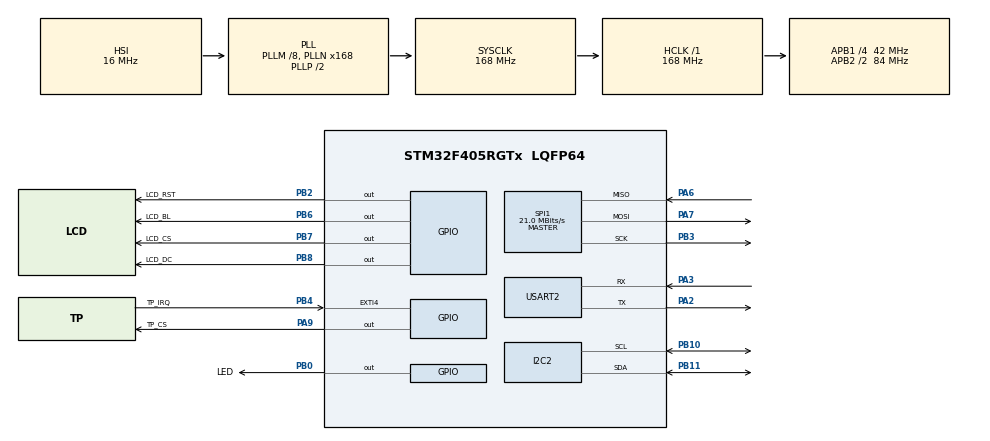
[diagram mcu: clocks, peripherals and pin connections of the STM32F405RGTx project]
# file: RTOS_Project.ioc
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ADC1.Channel-0\#ChannelRegularConversion=ADC_CHANNEL_TEMPSENSOR
ADC1.NbrOfConversion=1
ADC1.NbrOfConversionFlag=1
ADC1.Rank-0\#ChannelRegularConversion=1
ADC1.SamplingTime-0\#ChannelRegularConversion=ADC_SAMPLETIME_480CYCLES
ADC1.master=1
FREERTOS.BinarySemaphores01=touchSem,Dynamic,NULL,Available
FREERTOS.Mutexes01=spiMutex,Dynamic,NULL,Available
FREERTOS.Queues01=tempQueue,4,TempMsg_t,0,Dynamic,NULL,NULL
FREERTOS.Tasks01=defaultTask,24,128,StartDefaultTask,Default,NULL,Dynamic,NULL,NULL;touchTask,32,512,StartTask02,Default,NULL,Dynamic,NULL,NULL;TempTask,24,256,StartTask03,Default,NULL,Dynamic,NULL,NULL
I2C2.I2C_Mode=I2C_Fast
Mcu.Family=STM32F4
Mcu.Name=STM32F405RGTx
Mcu.Package=LQFP64
NVIC.EXTI4_IRQn=true\:5\:0\:true\:false\:true\:true\:true\:true\:true
NVIC.I2C2_ER_IRQn=true\:5\:0\:false\:false\:true\:true\:true\:true\:true
NVIC.I2C2_EV_IRQn=true\:5\:0\:false\:false\:true\:true\:true\:true\:true
NVIC.PriorityGroup=NVIC_PRIORITYGROUP_4
PA13.Mode=Serial_Wire
PA13.Signal=SYS_JTMS-SWDIO
PA14.Mode=Serial_Wire
PA14.Signal=SYS_JTCK-SWCLK
PA2.Mode=Asynchronous
PA2.Signal=USART2_TX
PA3.Mode=Asynchronous
PA3.Signal=USART2_RX
PA6.Mode=Full_Duplex_Master
PA6.Signal=SPI1_MISO
PA7.Mode=Full_Duplex_Master
PA7.Signal=SPI1_MOSI
PA9.GPIO_Label=TP_CS
PA9.Signal=GPIO_Output
PB0.GPIO_Label=LED
PB0.Signal=GPIO_Output
PB10.Mode=I2C
PB10.Signal=I2C2_SCL
PB11.Mode=I2C
PB11.Signal=I2C2_SDA
PB2.GPIO_Label=LCD_RST
PB2.Signal=GPIO_Output
PB3.Mode=Full_Duplex_Master
PB3.Signal=SPI1_SCK
PB4.GPIO_Label=TP_IRQ
PB4.GPIO_ModeDefaultEXTI=GPIO_MODE_IT_FALLING
PB4.GPIO_PuPd=GPIO_PULLUP
PB4.Signal=GPXTI4
PB6.GPIO_Label=LCD_BL
PB6.PinState=GPIO_PIN_SET
PB6.Signal=GPIO_Output
PB7.GPIO_Label=LCD_CS
PB7.Signal=GPIO_Output
PB8.GPIO_Label=LCD_DC
PB8.GPIO_Speed=GPIO_SPEED_FREQ_VERY_HIGH
PB8.Signal=GPIO_Output
PC14-OSC32_IN.Mode=LSE-External-Oscillator
PC14-OSC32_IN.Signal=RCC_OSC32_IN
PC15-OSC32_OUT.Mode=LSE-External-Oscillator
PC15-OSC32_OUT.Signal=RCC_OSC32_OUT
PH0-OSC_IN.Mode=HSE-External-Oscillator
PH0-OSC_IN.Signal=RCC_OSC_IN
PH1-OSC_OUT.Mode=HSE-External-Oscillator
PH1-OSC_OUT.Signal=RCC_OSC_OUT
ProjectManager.HeapSize=0x200
ProjectManager.StackSize=0x400
ProjectManager.TargetToolchain=STM32CubeIDE
RCC.48MHZClocksFreq_Value=84000000
RCC.AHBFreq_Value=168000000
RCC.APB1CLKDivider=RCC_HCLK_DIV4
RCC.APB1Freq_Value=42000000
RCC.APB1TimFreq_Value=84000000
RCC.APB2CLKDivider=RCC_HCLK_DIV2
RCC.APB2Freq_Value=84000000
RCC.APB2TimFreq_Value=168000000
RCC.CortexFreq_Value=168000000
RCC.HCLKFreq_Value=168000000
RCC.HSE_VALUE=25000000
RCC.HSI_VALUE=16000000
RCC.PLLM=8
RCC.PLLN=168
RCC.SYSCLKFreq_VALUE=168000000
RCC.SYSCLKSource=RCC_SYSCLKSOURCE_PLLCLK
RCC.VCOOutputFreq_Value=336000000
SPI1.BaudRatePrescaler=SPI_BAUDRATEPRESCALER_4
SPI1.CRCCalculation=SPI_CRCCALCULATION_DISABLE
SPI1.CalculateBaudRate=21.0 MBits/s
SPI1.Direction=SPI_DIRECTION_2LINES
SPI1.Mode=SPI_MODE_MASTER
SPI1.VirtualType=VM_MASTER
USART2.VirtualMode=VM_ASYNC
VP_ADC1_TempSens_Input.Mode=IN-TempSens
VP_FREERTOS_VS_CMSIS_V2.Mode=CMSIS_V2
board=custom

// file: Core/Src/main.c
/* USER CODE BEGIN Header */
/**
  ******************************************************************************
  * @file           : main.c
  * @brief          : Main program body
  ******************************************************************************
  * @attention
  *
  * Copyright (c) 2026 STMicroelectronics.
  * All rights reserved.
  *
  * This software is licensed under terms that can be found in the LICENSE file
  * in the root directory of this software component.
  * If no LICENSE file comes with this software, it is provided AS-IS.
  *
  ******************************************************************************
  */
/* USER CODE END Header */
#include "main.h"
#include "cmsis_os.h"
#include "adc.h"
#include "i2c.h"
#include "spi.h"
#include "usart.h"
#include "gpio.h"

/* USER CODE BEGIN Includes */
#include "lcd_driver.h"

/* Private includes ----------------------------------------------------------*/
/* USER CODE BEGIN Includes */

/* USER CODE END Includes */

void SystemClock_Config(void);
void MX_FREERTOS_Init(void);

int main(void)
{

  /* MCU Configuration--------------------------------------------------------*/

  /* Reset of all peripherals, Initializes the Flash interface and the Systick. */
  HAL_Init();

  /* Configure the system clock */
  SystemClock_Config();

  /* Initialize all configured peripherals */
  MX_GPIO_Init();
  MX_SPI1_Init();
  MX_USART2_UART_Init();
  MX_ADC1_Init();
  MX_I2C2_Init();
  /* USER CODE BEGIN 2 */
  HAL_GPIO_WritePin(LCD_CS_GPIO_Port, LCD_CS_Pin, GPIO_PIN_SET);
  HAL_GPIO_WritePin(TP_CS_GPIO_Port, TP_CS_Pin, GPIO_PIN_SET);
  lcd_init();
  //HAL_GPIO_WritePin(LED_GPIO_Port, LED_Pin, GPIO_PIN_SET);//testled
  /* USER CODE END 2 */

  /* Init scheduler */
  osKernelInitialize();  /* Call init function for freertos objects (in cmsis_os2.c) */
  MX_FREERTOS_Init();

  /* Start scheduler */
  osKernelStart();

  /* We should never get here as control is now taken by the scheduler */

  /* Infinite loop */
  while (1)
  {

  }
}

void SystemClock_Config(void)
{
  RCC_OscInitTypeDef RCC_OscInitStruct = {0};
  RCC_ClkInitTypeDef RCC_ClkInitStruct = {0};

  /** Configure the main internal regulator output voltage
  */
  __HAL_RCC_PWR_CLK_ENABLE();
  __HAL_PWR_VOLTAGESCALING_CONFIG(PWR_REGULATOR_VOLTAGE_SCALE1);

  /** Initializes the RCC Oscillators according to the specified parameters
  * in the RCC_OscInitTypeDef structure.
  */
  RCC_OscInitStruct.OscillatorType = RCC_OSCILLATORTYPE_HSI;
  RCC_OscInitStruct.HSIState = RCC_HSI_ON;
  RCC_OscInitStruct.HSICalibrationValue = RCC_HSICALIBRATION_DEFAULT;
  RCC_OscInitStruct.PLL.PLLState = RCC_PLL_ON;
  RCC_OscInitStruct.PLL.PLLSource = RCC_PLLSOURCE_HSI;
  RCC_OscInitStruct.PLL.PLLM = 8;
  RCC_OscInitStruct.PLL.PLLN = 168;
  RCC_OscInitStruct.PLL.PLLP = RCC_PLLP_DIV2;
  RCC_OscInitStruct.PLL.PLLQ = 4;
  if (HAL_RCC_OscConfig(&RCC_OscInitStruct) != HAL_OK)
  {
    Error_Handler();
  }

  /** Initializes the CPU, AHB and APB buses clocks
  */
  RCC_ClkInitStruct.ClockType = RCC_CLOCKTYPE_HCLK|RCC_CLOCKTYPE_SYSCLK
                              |RCC_CLOCKTYPE_PCLK1|RCC_CLOCKTYPE_PCLK2;
  RCC_ClkInitStruct.SYSCLKSource = RCC_SYSCLKSOURCE_PLLCLK;
  RCC_ClkInitStruct.AHBCLKDivider = RCC_SYSCLK_DIV1;
  RCC_ClkInitStruct.APB1CLKDivider = RCC_HCLK_DIV4;
  RCC_ClkInitStruct.APB2CLKDivider = RCC_HCLK_DIV2;

  if (HAL_RCC_ClockConfig(&RCC_ClkInitStruct, FLASH_LATENCY_5) != HAL_OK)
  {
    Error_Handler();
  }
}

void Error_Handler(void)
{
  __disable_irq();
  while (1)
  {
  }
}

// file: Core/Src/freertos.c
/* USER CODE BEGIN Header */
/**
  ******************************************************************************
  * File Name          : freertos.c
  * Description        : Code for freertos applications
  ******************************************************************************
  * @attention
  *
  * Copyright (c) 2026 STMicroelectronics.
  * All rights reserved.
  *
  * This software is licensed under terms that can be found in the LICENSE file
  * in the root directory of this software component.
  * If no LICENSE file comes with this software, it is provided AS-IS.
  *
  ******************************************************************************
  */
/* USER CODE END Header */

#include "FreeRTOS.h"
#include "task.h"
#include "main.h"
#include "cmsis_os.h"

/* USER CODE BEGIN Includes */
#include "usart.h"
#include "lcd_driver.h"
#include "spi.h"
#include "gpio.h"
#include "XPT2046.h"
#include "fram.h"
#include "string.h"
#include <math.h>
#include <stdio.h>

/* USER CODE END Includes */

/* USER CODE BEGIN PTD */

/* ================================================================
   CẤU TRÚC DỮ LIỆU NHIỆT ĐỘ — gửi qua tempQueue
   ================================================================ */
typedef struct {
    float    celsius;        /* Nhiệt độ °C                       */
    uint32_t timestamp_ms;   /* HAL_GetTick() tại thời điểm đọc   */
    uint8_t  overheat;       /* 1 = vượt ngưỡng 40°C              */
    uint8_t  pad[3];         /* Padding cho căn chỉnh 4 byte      */
} TempMsg_t;
/* ================================================================
   HẰNG SỐ CẤU HÌNH
   ================================================================ */
#define TEMP_THRESHOLD      40.0f   /* Ngưỡng quá nhiệt (°C)        */
#define TEMP_DEMO_OFFSET    7.7f    /* phục vụ Demo 				*/
#define TEMP_READ_MS        500     /* Chu kỳ đọc nhiệt độ (ms)     */
#define OVERHEAT_TICKS      10      /* 10 lần × 500ms = 5 giây     	*/
#define Z_THRESHOLD         60      /* Ngưỡng lực chạm XPT2046      */

#define TEMP_TEXT_X         115
#define TEMP_TEXT_Y         57
/* ================================================================
   ĐỊA CHỈ CALIBRATION ADC — System Flash STM32F405
   ================================================================ */
#define TS_CAL1  (*((volatile uint16_t *)0x1FFF7A2CU))  /* Raw tại 30°C  */
#define TS_CAL2  (*((volatile uint16_t *)0x1FFF7A2EU))  /* Raw tại 110°C */

/* Biến trạng thái toàn cục (volatile — dùng chung giữa tasks) */
/* Vùng hiển thị nhiệt độ (bên trong khung y=50) */

static volatile uint8_t    	s_overheat_count = 0;    /* Bộ đếm 5 giây     */
static volatile uint16_t 	s_pause_overheat_count = 0; /* Bộ đếm 5 giây cho PAUSE*/
static volatile uint16_t   	s_total_overheat = 0;    /* Tổng số lần quá nhiệt */
static volatile uint16_t   	s_fram_index     = 0;    /* Con trỏ ghi FRAM   */
static volatile float      	s_last_temp      = 0.0f; /* Nhiệt độ lần đọc cuối */
static volatile uint8_t    	s_monitoring_enabled = 0;/* 1 = Play, 0 = Pause */
static volatile uint8_t    	s_fram_ready     = 0;    /* 1 = FRAM OK        */
/* USER CODE END PTD */

/* USER CODE BEGIN Variables */
extern void tp_adjust(void);
extern ADC_HandleTypeDef hadc1;

extern SPI_HandleTypeDef hspi1;
/* USER CODE BEGIN PV */
extern UART_HandleTypeDef huart2;

/* USER CODE END PV */
// --- HÀM THAY ĐỔI TỐC ĐỘ SPI ---
// XPT2046 cần tốc độ chậm (VD: Prescaler 128)
void SPI_SetSpeed_Slow(void) {
    __HAL_SPI_DISABLE(&hspi1);
    hspi1.Instance->CR1 = (hspi1.Instance->CR1 & ~SPI_CR1_BR) | SPI_BAUDRATEPRESCALER_64;
    __HAL_SPI_ENABLE(&hspi1);
}

// LCD ST7789/HX8347 cần tốc độ nhanh nhất (VD: Prescaler 2 hoặc 4)
void SPI_SetSpeed_Fast(void) {
    __HAL_SPI_DISABLE(&hspi1);
    hspi1.Instance->CR1 = (hspi1.Instance->CR1 & ~SPI_CR1_BR) | SPI_BAUDRATEPRESCALER_4;
    __HAL_SPI_ENABLE(&hspi1);
}
/* USER CODE END Variables */

static void uart_print(const char *s)
{
    HAL_UART_Transmit(&huart2, (uint8_t *)s, strlen(s), 100);
}

/* Definitions for defaultTask */
osThreadId_t defaultTaskHandle;
const osThreadAttr_t defaultTask_attributes = {
  .name = "defaultTask",
  .stack_size = 512 * 4,
  .priority = (osPriority_t) osPriorityNormal,
};
/* Definitions for touchTask */
osThreadId_t touchTaskHandle;
const osThreadAttr_t touchTask_attributes = {
  .name = "touchTask",
  .stack_size = 512 * 4,
  .priority = (osPriority_t) osPriorityAboveNormal,
};
/* Definitions for TempTask */
osThreadId_t TempTaskHandle;
const osThreadAttr_t TempTask_attributes = {
  .name = "TempTask",
  .stack_size = 1024 * 4,
  .priority = (osPriority_t) osPriorityNormal,
};
/* Definitions for tempQueue */
osMessageQueueId_t tempQueueHandle;
const osMessageQueueAttr_t tempQueue_attributes = {
  .name = "tempQueue"
};
/* Definitions for spiMutex */
osMutexId_t spiMutexHandle;
const osMutexAttr_t spiMutex_attributes = {
  .name = "spiMutex"
};
/* Definitions for touchSem */
osSemaphoreId_t touchSemHandle;
const osSemaphoreAttr_t touchSem_attributes = {
  .name = "touchSem"
};

/* USER CODE BEGIN FunctionPrototypes */
void LCD_Displaytest(void){
	lcd_clear_screen(BLUE);
	//khung ten nhom
	lcd_fill_rect(7, 7, 98, 30, WHITE); // Vẽ khung
	lcd_display_string(14,14,(const uint8_t *)"NHOM 11",FONT_1608,BLACK);

	//khung Nhiet do:
	lcd_fill_rect(7, 50, 226, 30, WHITE);
	lcd_display_string(14, 57, (const uint8_t *)"Nhiet do chip: ",FONT_1608,BLACK);

	//khung buttons
	lcd_fill_rect(7, 93, 226, 80, WHITE);
	//playbutton();
	lcd_draw_rect(20,95,68,70,BLUE);
	lcd_fill_triangle(40,110,40,152, 70,132, BLUE);

	//pausebutton();
	lcd_draw_rect(132, 95, 72, 70, BLUE);
	lcd_fill_rect(152, 110, 15, 42, BLUE);
	lcd_fill_rect(175, 110, 15, 42, BLUE);

	//khung data
	lcd_fill_rect(7,186, 226, 320-7-186, WHITE); //tô màu trong khung
	lcd_display_string(14, 193, (const uint8_t *)"Data: PAUSED!     ",FONT_1608,BLUE);
}

/* ================================================================
   LCD — Màn hình cảnh báo SHUTDOWN
   ================================================================ */
static void LCD_DrawShutdown(void)
{
    lcd_clear_screen(BLACK);

    /* Tam giác cảnh báo */
    lcd_fill_triangle(120, 40, 40, 180, 200, 180, RED);
    lcd_fill_triangle(120, 55, 52, 168, 188, 168, 0xFC00);

    /* Dấu chấm than */
    lcd_fill_rect(114, 80,  12, 50, RED);
    lcd_fill_rect(114, 142, 12, 12, RED);

    lcd_display_string(30, 200,
        (const uint8_t *)"SYSTEM SHUTDOWN", FONT_1608, RED);
    lcd_display_string(10, 220,
        (const uint8_t *)"Chip > 40C trong 5s", FONT_1608, 0xFC00);
    lcd_display_string(5, 245,
        (const uint8_t *)"Nhan WAKEUP (RESET) de bat", FONT_1608, WHITE);
    lcd_display_string(20, 265,
        (const uint8_t *)"FRAM luu: ", FONT_1608, WHITE);

    char buf[16];
    sprintf(buf, "%d ban ghi", s_total_overheat);
    lcd_display_string(110, 265, (const uint8_t *)buf, FONT_1608, 0xFFE0);
}

static void EnterStopMode(void)
{
	__HAL_RCC_PWR_CLK_ENABLE();
	__HAL_PWR_CLEAR_FLAG(PWR_FLAG_WU);
//	HAL_PWR_EnableWakeUpPin(PWR_WAKEUP_PIN1);

	HAL_SuspendTick();
	HAL_PWR_EnterSTOPMode(PWR_LOWPOWERREGULATOR_ON, PWR_STOPENTRY_WFI);
	HAL_ResumeTick();

	NVIC_SystemReset();
}

static void EnterStandbyMode(void)
{
    __HAL_RCC_PWR_CLK_ENABLE();

    HAL_PWR_DisableWakeUpPin(PWR_WAKEUP_PIN1);

    /* Clear wakeup flag */
    __HAL_PWR_CLEAR_FLAG(PWR_FLAG_WU);
    __HAL_PWR_CLEAR_FLAG(PWR_FLAG_SB);

    /* Enable PA0 WKUP pin */
    HAL_PWR_EnableWakeUpPin(PWR_WAKEUP_PIN1);

    HAL_SuspendTick();

    /* Enter Standby mode. Wakeup by PA0 will reset/boot MCU */
    HAL_PWR_EnterSTANDBYMode();
}

/* ----------------------------------------------------------------
   Kiểm tra lực chạm hợp lệ
   ---------------------------------------------------------------- */
uint8_t is_touch_pressed(void) {
    uint16_t z1 = xpt2046_read_average(0xB0);
    return (z1 > Z_THRESHOLD) ? 1 : 0;
}

static float Read_ChipTemp(void)
{
    ADC_ChannelConfTypeDef cfg = {0};
    cfg.Channel      = ADC_CHANNEL_TEMPSENSOR;
    cfg.Rank         = 1;
    cfg.SamplingTime = ADC_SAMPLETIME_480CYCLES;
    HAL_ADC_ConfigChannel(&hadc1, &cfg);

    HAL_ADC_Start(&hadc1);
    if (HAL_ADC_PollForConversion(&hadc1, 100) != HAL_OK) {
        HAL_ADC_Stop(&hadc1);
        return -999.0f;
    }
    uint16_t raw = HAL_ADC_GetValue(&hadc1);
    HAL_ADC_Stop(&hadc1);

    /* Hiệu chuẩn và tính nhiệt độ theo CAL1 (30°C) và CAL2 (110°C) */
    float temp = ((110.0f - 30.0f) / (float)((int32_t)TS_CAL2 - TS_CAL1))
                 * (float)((int32_t)raw - TS_CAL1)
                 + 30.0f;

    /* Debug UART */
//    char dbg[80];
//    snprintf(dbg, sizeof(dbg),
//             "[ADC] raw=%u temp=%.1f C CAL1=%lu CAL2=%lu\r\n",
//             raw,
//             temp,
//             (uint32_t)TS_CAL1,
//             (uint32_t)TS_CAL2);
//
//    HAL_UART_Transmit(&huart2, (uint8_t*)dbg, strlen(dbg), 100);

    return temp;
}

/* ================================================================
   HÀM LÀM NÓNG CHIP — Kết hợp CPU + FPU + Flash access
   Gọi mỗi chu kỳ 500ms khi STATE_MONITOR
   ================================================================ */
//static void CPU_HeatUp(void)
//{
//    const uint32_t target_ms = 900U;
//    uint32_t start = HAL_GetTick();
//
//    volatile float a = 1.23456789f;
//    volatile float b = 9.87654321f;
//
//    static volatile uint32_t mem_buf[512];
//
//    while ((HAL_GetTick() - start) < target_ms)
//    {
//        for (uint32_t k = 0; k < 1200; k++)
//        {
//            a = a * b + 0.000001f;
//            b = b / (a + 1e-6f) + 0.000001f;
//            a = sqrtf(a * a + b * b);
//        }
//
//        for (uint32_t i = 0; i < 8192; i++)
//        {
//            uint32_t idx = i & 0x1FFu;
//            mem_buf[idx] =
//                (mem_buf[idx] << 3) ^
//                (mem_buf[(idx + 37) & 0x1FFu] + 0x9E3779B1u);
//        }
//    }
//
//    (void)a;
//    (void)b;
//}

/* USER CODE BEGIN FunctionPrototypes */

/* ================================================================
   CÁC PHƯƠNG PHÁP LÀM NÓNG — Gọi tuần tự trong TempTask
   ================================================================ */

/* ---- Phương pháp 1: FPU tính toán nặng ---- */
static void Heat_FPU(void)
{
    volatile float a = 1.23456789f;
    volatile float b = 9.87654321f;
    volatile float c = 0.0f;

    for (uint32_t i = 0; i < 300000; i++) {
        a = sqrtf(a * a + b * b);   /* sqrt — nặng nhất cho FPU */
        b = sinf(a) + cosf(b);      /* sin/cos — rất tốn điện   */
        c = a * b + sqrtf(c + 1.0f);
        a = c / (b + 0.001f);
    }
    (void)a; (void)b; (void)c;
}

/* ---- Phương pháp 2: ALU + Memory thrashing ---- */
static void Heat_ALU_MEM(void)
{
    static volatile uint32_t buf[64];  /* RAM access liên tục */
    volatile uint32_t x = 0xDEADBEEF;

    for (uint32_t i = 0; i < 200000; i++) {
        /* Phép tính ALU + ghi đọc RAM */
        x  = x * 1664525UL + 1013904223UL;
        x ^= (x >> 13);
        x ^= (x << 17);
        x ^= (x >>  5);
        buf[i % 64] = x;        /* Cache thrashing */
        x += buf[(i+1) % 64];
    }
    (void)x;
}

/* ---- Phương pháp 3: Bật nhiều peripheral cùng lúc ---- */
static void Heat_Peripheral(void)
{
    /* Bật clock cho nhiều peripheral → tiêu thụ điện tăng */
    __HAL_RCC_DMA1_CLK_ENABLE();
    __HAL_RCC_DMA2_CLK_ENABLE();
    __HAL_RCC_CRC_CLK_ENABLE();

    /* CRC tính liên tục trên block data */
    CRC->CR = CRC_CR_RESET;
    for (uint32_t i = 0; i < 50000; i++) {
        CRC->DR = i * 0x1234ABCDUL;
    }
    volatile uint32_t crc_val = CRC->DR;
    (void)crc_val;
}

/* ---- Phương pháp 4: Flash read liên tục ---- */
static void Heat_FlashRead(void)
{
    /* Đọc liên tục từ Flash → tốn điện trên Flash controller */
    extern uint32_t _stext;   /* Địa chỉ đầu Flash */
    volatile uint32_t *ptr = (volatile uint32_t *)0x08000000;
    volatile uint32_t  sum = 0;

    for (uint32_t i = 0; i < 100000; i++) {
        sum += ptr[i % 4096];  /* Đọc 16KB Flash liên tục */
    }
    (void)sum;
}

/* ================================================================
   CPU_HeatUp — Tổng hợp tất cả phương pháp
   Gọi mỗi chu kỳ TEMP_READ_MS (500ms) trong TempTask
   ================================================================ */
static void CPU_HeatUp(void)
{
    Heat_FPU();         /* ~150ms — FPU nặng nhất   */
    Heat_ALU_MEM();     /* ~100ms — ALU + RAM        */
    Heat_Peripheral();  /* ~50ms  — CRC peripheral   */
    /* Heat_FlashRead() — tuỳ chọn thêm nếu cần     */
}

/* USER CODE END FunctionPrototypes */

static void LCD_UpdateTemp(float celsius, uint8_t overheat)
{
    char buf[24];
    int  t_int  = (int)celsius;
    int  t_frac = (int)((celsius - (float)t_int) * 10.0f);
    if (t_frac < 0) t_frac = -t_frac;

    sprintf(buf, "%d.%01d C  ", t_int, t_frac);

    /* Xóa vùng số cũ */
    lcd_fill_rect(TEMP_TEXT_X + 10, TEMP_TEXT_Y, 100, 14, WHITE);

    uint16_t col = overheat ? RED : BLACK;
    lcd_display_string(TEMP_TEXT_X + 15, TEMP_TEXT_Y,
        (const uint8_t *)buf, FONT_1608, col);
}
/* USER CODE END FunctionPrototypes */

void StartDefaultTask(void *argument);
void StartTask02(void *argument);
void StartTask03(void *argument);

void MX_FREERTOS_Init(void); /* (MISRA C 2004 rule 8.1) */

void MX_FREERTOS_Init(void) {
	/* Create the mutex(es) */
	/* creation of spiMutex */
	spiMutexHandle = osMutexNew(&spiMutex_attributes);

	/* Create the semaphores(s) */
	/* creation of touchSem */
	// ban đầu chưa có touch interrupt thì TouchTask không nên tự chạy
	touchSemHandle = osSemaphoreNew(1, 0, &touchSem_attributes);

	/* Create the queue(s) */
	/* creation of tempQueue */
	tempQueueHandle = osMessageQueueNew (4, sizeof(TempMsg_t), &tempQueue_attributes);

	/* Create the thread(s) */
	/* creation of defaultTask */
	defaultTaskHandle = osThreadNew(StartDefaultTask, NULL, &defaultTask_attributes);

	/* creation of touchTask */
	touchTaskHandle = osThreadNew(StartTask02, NULL, &touchTask_attributes);

	/* creation of TempTask */
	TempTaskHandle = osThreadNew(StartTask03, NULL, &TempTask_attributes);

}

void StartDefaultTask(void *argument)
{
/* USER CODE BEGIN StartDefaultTask */

	// Vẽ layout giao diện tĩnh ban đầu. Xin Mutex trước khi vẽ
	if(osMutexAcquire(spiMutexHandle, 100) == osOK) {
		LCD_Displaytest();
		osMutexRelease(spiMutexHandle);
	}
	/* Infinite loop */
	TempMsg_t  msg;
	//char       line1[24], line2[24], line3[24];

	for(;;)
	{
		if (osMessageQueueGet(tempQueueHandle, &msg,  NULL, 100) == osOK) {
			/* Cập nhật ô nhiệt độ */
			if (osMutexAcquire(spiMutexHandle, 50) == osOK) {
				SPI_SetSpeed_Fast();
				LCD_UpdateTemp(msg.celsius, msg.overheat);
				osMutexRelease(spiMutexHandle);
			}
		}

		// Ngủ 50ms (Được khoảng 50 khung hình/giây)
		osDelay(20);
	}
  /* USER CODE END StartDefaultTask */
}

void StartTask02(void *argument)
{
  /* USER CODE BEGIN StartTask02 */

	uint16_t raw_x = 0;
	uint16_t raw_y = 0;
	uint16_t pixel_x = 0;
	uint16_t pixel_y = 0;

	xpt2046_init();  // Khởi tạo chip cảm ứng

	//***********************************************
	for(;;)
	{
		__HAL_GPIO_EXTI_CLEAR_IT(TP_IRQ_Pin); // Xóa cờ ngắt
		// Chờ ngắt EXTI báo có người chạm
		if(osSemaphoreAcquire(touchSemHandle, osWaitForever) == osOK)
		{
			osDelay(20); // Debounce: Chờ 20ms để tay chạm ổn định
			if(osMutexAcquire(spiMutexHandle, 100) == osOK)
			{
				SPI_SetSpeed_Slow();
				// Đọc thẳng giá trị trung bình 1 lần duy nhất
				raw_x = xpt2046_filter_read(0xD0); // Trục X
				raw_y = xpt2046_filter_read(0x90); // Trục Y

				SPI_SetSpeed_Fast();
				osMutexRelease(spiMutexHandle);

				if(raw_x > 100 && raw_x < 3900 && raw_y > 100 && raw_y < 3900)
				{
					// Chuyển đổi tọa độ Raw sang Pixel
					// 1. Ép kiểu và tính toán tọa độ X (Từ 1370 về 168 thành 0 đến 240)
					// Công thức: pixel = (raw - max) * width / (min - max)
					// 2. Ép kiểu và tính toán tọa độ Y (Từ 1957 về 197 thành 0 đến 320)
					// Công thức: pixel = (raw - max) * height / (min - max)
					pixel_x = (raw_x - 1370) * 240 / (168 - 1370) + 50;
					pixel_y = (raw_y - 1957) * 320 / (197 - 1957);
					if(pixel_x > 240) pixel_x = 240;
					if(pixel_y > 320) pixel_y = 320;
				}
				// ==========================================
				// XỬ LÝ TÁC VỤ DỰA TRÊN VÙNG CHẠM
				// ==========================================
				// Kiểm tra nếu chạm vào vùng nút PAUSE
				if (pixel_x >= 132 && pixel_x <= 204 && pixel_y >= 95 && pixel_y <= 165) //132 95 72 70
				{
				  if (s_monitoring_enabled != 0)
					{
					    s_monitoring_enabled = 0;
					    s_overheat_count = 0;
					    s_pause_overheat_count = 0;

						if (osMutexAcquire(spiMutexHandle, 50) == osOK) {
							SPI_SetSpeed_Fast();

							lcd_fill_triangle(40,110,40,152, 70,132, BLUE);
							lcd_fill_rect(152, 110, 15, 42, GREEN);
							lcd_fill_rect(175, 110, 15, 42, GREEN);

							LCD_ShowModeStatus(0);

							osMutexRelease(spiMutexHandle);
						}
					}
				}
				// Kiểm tra nếu chạm vào vùng nút PLAY
				else if (pixel_x >= 20 && pixel_x <= 88 && pixel_y >= 95 && pixel_y <= 165)
				{
					if (s_monitoring_enabled != 1)
					{
						s_monitoring_enabled = 1;
						s_overheat_count = 0;

						if (osMutexAcquire(spiMutexHandle, 50) == osOK) {
							SPI_SetSpeed_Fast();
							lcd_fill_rect(152, 110, 15, 42, BLUE);
							lcd_fill_rect(175, 110, 15, 42, BLUE);
							lcd_fill_triangle(40,110,40,152, 70,132, GREEN);
							LCD_ShowModeStatus(1);
							osMutexRelease(spiMutexHandle);
						}
					}
				}
				// Nếu chạm vào chỗ khác
				else {
//					if (is_touch_pressed() == 1){
//						if (osMutexAcquire(spiMutexHandle, 50) == osOK) {
//							  SPI_SetSpeed_Fast();
//							  lcd_draw_circle(pixel_x, pixel_y, 3, RED);
//							  osMutexRelease(spiMutexHandle);
//						}
//					}
					// Nothing...

				}
				// CHỜ CHO ĐẾN KHI NGƯỜI DÙNG NHẤC TAY LÊN MỚI ĐI TIẾP
				uint32_t wait_start = HAL_GetTick();
				while(HAL_GPIO_ReadPin(TP_IRQ_GPIO_Port, TP_IRQ_Pin) == GPIO_PIN_RESET)
				{
					osDelay(30);
				    if (HAL_GetTick() - wait_start > 1000U)
				    {
				        break;
				    }
				}
			}
		}
	}
  /* USER CODE END StartTask02 */
}

void StartTask03(void *argument)
{
  /* USER CODE BEGIN StartTask03 */
	TempMsg_t msg;
	uint32_t last_fram_read_ms = 0;
	static uint32_t last_uart_ms = 0;
	static uint32_t overheat_start_ms = 0;

	s_fram_ready = (FRAM_Init() == HAL_OK) ? 1 : 0;
	if (s_fram_ready) {
		FRAM_ReadRecord(0, &huart2);
	}
	//char      uart_buf[64];
	/* Infinite loop */
	for(;;)
	{
		/*  Đọc nhiệt độ ADC --- */
		/* ADC độc lập với SPI, không cần spiMutex */
//		float temp = Read_ChipTemp();
//		s_last_temp = temp;
//
//		// Tạo msg nhiệt độ
//		msg.celsius      = temp;
//		msg.timestamp_ms = HAL_GetTick();
//		msg.overheat     = (temp > TEMP_THRESHOLD) ? 1 : 0;

		// Phục vụ Demo
		float temp_real = Read_ChipTemp();
		float temp = temp_real + TEMP_DEMO_OFFSET;

		s_last_temp = temp;

		msg.celsius      = temp;
		msg.timestamp_ms = HAL_GetTick();
		msg.overheat     = (temp > TEMP_THRESHOLD) ? 1 : 0;

		// Debug ADC thay vì để ở Read_ChipTemp thì đặt ở đây.
		if (HAL_GetTick() - last_uart_ms >= 500) {
		    int32_t temp_x10 = (int32_t)(temp * 10.0f);

		    char buf[100];
		    snprintf(buf, sizeof(buf),
		             "[LIVE] temp=%ld.%ld oC | mode=%s | overheat=%d | play_count=%u | pause_count=%u\r\n",
		             temp_x10 / 10,
		             temp_x10 % 10,
		             s_monitoring_enabled ? "PLAY" : "PAUSE",
		             msg.overheat,
		             s_overheat_count,
		             s_pause_overheat_count);

		    HAL_UART_Transmit(&huart2, (uint8_t*)buf, strlen(buf), 100);

		    last_uart_ms = HAL_GetTick();
		}

		/*  Gửi vào queue cho DefaultTask hiển thị --- */
		// Tức là, gửi dữ liệu sang LCD task
		osMessageQueuePut(tempQueueHandle, &msg, 0, 0);
		CPU_HeatUp();
		// Tức là, nếu đang PAUSE thì bỏ qua toàn bộ phần ghi FRAM/Shutdown
		if (s_monitoring_enabled) {
			if (msg.overheat) {
//				s_overheat_count++;
		        if (overheat_start_ms == 0) {
		            overheat_start_ms = HAL_GetTick();   // bắt đầu tính 5 giây
		        }

		        s_overheat_count = (HAL_GetTick() - overheat_start_ms) / 500;

				// Nếu FRAM sẵn sàng, == 1
				if (s_fram_ready) {
					// nếu nhiệt độ > ngưỡng liên tục 5 giây, nó có thể ghi khoảng 10 bản ghi
					// Lưu ý: đây là thời gian tính từ lúc boot, chưa phải realtime ngày/giờ thật
					if (FRAM_WriteRecord(&s_fram_index, msg.timestamp_ms, temp) == HAL_OK) {
						uint16_t latest_index = (s_fram_index == 0) ? (FRAM_MAX_RECORDS - 1) : (s_fram_index - 1);
						s_total_overheat++;
						FRAM_ReadRecord(latest_index, &huart2);

						// In UART2
					    char buf[160];
					    snprintf(buf, sizeof(buf),
					             "[COMPARE] write_temp=%.1f | read_temp=%.1f oC | write_ts=%lu | read_ts=%lu | index=%u\r\n",
					             temp,
					             g_fram_read_record.temp_x10 / 10.0f,
					             msg.timestamp_ms,
					             g_fram_read_record.timestamp_ms,
					             latest_index);

					    HAL_UART_Transmit(&huart2, (uint8_t *)buf, strlen(buf), 100);

						last_fram_read_ms = HAL_GetTick();
					} else {
						s_fram_ready = 0;
					}
				}

				/* ---- Kiểm tra 5 giây liên tục ---- */
				// 1. Reset s_overheat_count
				// 2. Vẽ màn hình shutdown
				// 3. Delay 800ms
				// 4. Stop ADC
				// 5. Gọi EnterStopMode()
		        if ((HAL_GetTick() - overheat_start_ms) >= 5000U) {
		            s_overheat_count = 0;
		            overheat_start_ms = 0;

		            if (osMutexAcquire(spiMutexHandle, 200) == osOK) {
		                SPI_SetSpeed_Fast();
		                LCD_DrawShutdown();
		                osMutexRelease(spiMutexHandle);
		            }

		            uart_print("[SYSTEM] Overheat 5s. Enter Standby mode. Press WAKEUP to reboot....\r\n");

		            osDelay(2000);
		            HAL_ADC_Stop(&hadc1);
		            EnterStopMode();
//		            EnterStandbyMode();
//		            uart_print("[SYSTEM] Would enter Standby here\r\n");
//		            while (1) {
//		                GPIO_PinState wk = HAL_GPIO_ReadPin(GPIOA, GPIO_PIN_0);
//
//		                char buf[64];
//		                snprintf(buf, sizeof(buf), "[WAKEUP TEST] PA0=%d\r\n", wk);
//		                HAL_UART_Transmit(&huart2, (uint8_t*)buf, strlen(buf), 100);
//
//		                osDelay(500);
//		            }
//		            uint8_t wk = HAL_GPIO_ReadPin(GPIOA, GPIO_PIN_0);
//
//		            char buf[64];
//		            snprintf(buf, sizeof(buf), "[WAKEUP TEST] PA0=%d\r\n", wk);
//		            HAL_UART_Transmit(&huart2, (uint8_t*)buf, strlen(buf), 100);
		        }
			} else {
		        s_overheat_count = 0;
		        overheat_start_ms = 0;
			}
		} else {
	        s_overheat_count = 0;
	        overheat_start_ms = 0;
	        // PAUSE mode: không ghi FRAM, không shutdown
	        s_overheat_count = 0;

	        if (msg.overheat) {
	            s_pause_overheat_count++;
	        } else {
	            s_pause_overheat_count = 0;
	        }
		}

//		if (s_fram_ready && s_total_overheat > 0) {
//			uint32_t now = HAL_GetTick();
//			if ((now - last_fram_read_ms) >= 1000U) {
//				uint16_t latest_index = (s_fram_index == 0) ? (FRAM_MAX_RECORDS - 1) : (s_fram_index - 1);
//				FRAM_ReadRecord(latest_index, &huart2);
//				last_fram_read_ms = now;
//			}
//		}

		/* Đọc mỗi 500ms */
		 osDelay(TEMP_READ_MS);
	}
/* USER CODE END StartTask03 */
}

/* USER CODE BEGIN Application */
/* ================================================================
   EXTI CALLBACK — Ngắt từ TP_IRQ (chân cảm ứng)
   Gọi osSemaphoreRelease để đánh thức TouchTask
   ================================================================ */
void HAL_GPIO_EXTI_Callback(uint16_t GPIO_Pin)
{
    if (GPIO_Pin == TP_IRQ_Pin) {
        osSemaphoreRelease(touchSemHandle);
    }
    if (GPIO_Pin == WAKEUP_Pin) {
//        uart_print("[BUTTON] WAKEUP pressed\r\n");
    }
}
/* USER CODE END Application */
